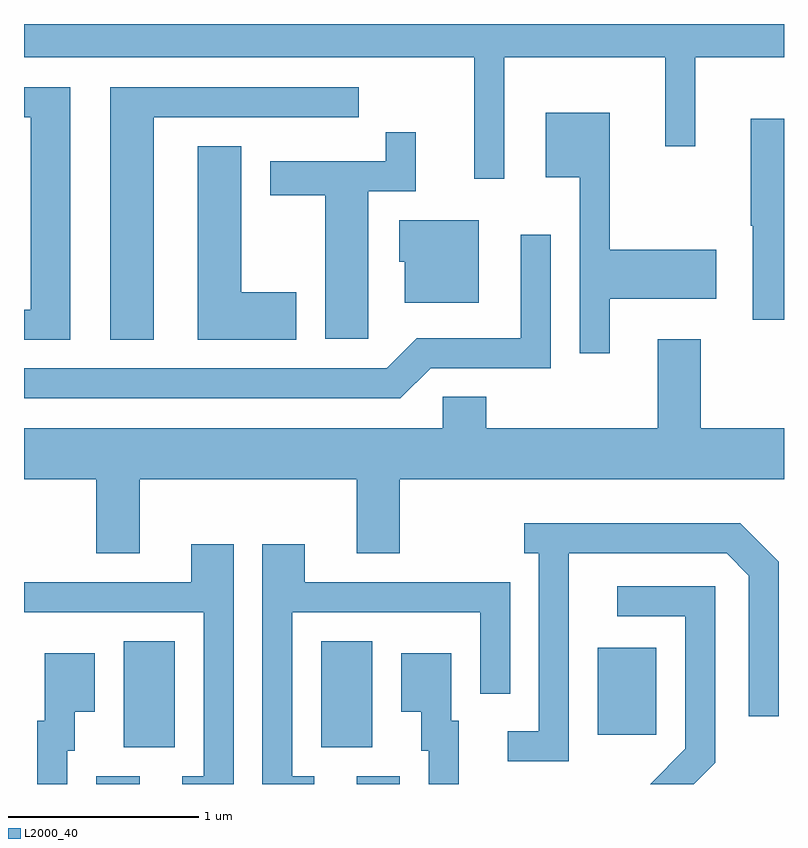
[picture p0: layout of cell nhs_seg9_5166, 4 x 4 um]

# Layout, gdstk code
import gdstk
lib = gdstk.Library(unit=1e-6, precision=1e-09)
def R(c, l, rs):  # rectangles x0, y0, x1, y1
    for r in rs: c.add(gdstk.rectangle(r[:2], r[2:], *l))
def P(c, l, *ps):  # polygons
    for p in ps: c.add(gdstk.Polygon(p, *l))
L2000_40 = (2000, 40)

nhs_seg9_5166 = lib.new_cell('nhs_seg9_5166')
R(nhs_seg9_5166, L2000_40, [(337.991,1992.432,338.219,1992.474), (339.361,1992.432,339.589,1992.474), (338.136,1992.626,338.404,1993.184), (339.176,1992.626,339.444,1993.184), (340.631,1992.691,340.939,1993.149)])
P(nhs_seg9_5166, L2000_40, [(340.139,1996.256),(340.986,1996.256),(340.986,1995.788),(341.144,1995.788),(341.144,1996.256),(341.611,1996.256),(341.611,1996.432),(337.611,1996.432),(337.611,1996.256),(339.981,1996.256),(339.981,1995.618),(340.139,1995.618)],
  [(337.854,1996.099),(337.611,1996.099),(337.611,1995.941),(337.646,1995.941),(337.646,1994.929),(337.611,1994.929),(337.611,1994.771),(337.854,1994.771)],
  [(338.294,1995.941),(339.373,1995.941),(339.373,1996.099),(338.066,1996.099),(338.066,1994.771),(338.294,1994.771)],
  [(340.694,1994.986),(341.254,1994.986),(341.254,1995.244),(340.694,1995.244),(340.694,1995.964),(340.356,1995.964),(340.356,1995.626),(340.536,1995.626),(340.536,1994.698),(340.694,1994.698)],
  [(341.611,1995.934),(341.436,1995.934),(341.436,1995.37),(341.446,1995.37),(341.446,1994.876),(341.611,1994.876)],
  [(339.424,1995.551),(339.674,1995.551),(339.674,1995.863),(339.516,1995.863),(339.516,1995.709),(338.906,1995.709),(338.906,1995.531),(339.196,1995.531),(339.196,1994.776),(339.424,1994.776)],
  [(339.044,1995.019),(338.754,1995.019),(338.754,1995.789),(338.526,1995.789),(338.526,1994.771),(339.044,1994.771)],
  [(340.004,1995.399),(339.586,1995.399),(339.586,1995.181),(339.616,1995.181),(339.616,1994.966),(340.004,1994.966)],
  [(339.752,1994.621),(340.384,1994.621),(340.384,1995.323),(340.226,1995.323),(340.226,1994.779),(339.679,1994.779),(339.519,1994.619),(337.611,1994.619),(337.611,1994.461),(339.592,1994.461)],
  [(338.219,1994.036),(339.361,1994.036),(339.361,1993.646),(339.589,1993.646),(339.589,1994.036),(341.611,1994.036),(341.611,1994.304),(341.174,1994.304),(341.174,1994.774),(340.946,1994.774),(340.946,1994.304),(340.044,1994.304),(340.044,1994.469),(339.816,1994.469),(339.816,1994.304),(337.611,1994.304),(337.611,1994.036),(337.991,1994.036),(337.991,1993.646),(338.219,1993.646)],
  [(340.479,1993.646),(341.309,1993.646),(341.426,1993.529),(341.426,1992.788),(341.584,1992.788),(341.584,1993.602),(341.382,1993.804),(340.243,1993.804),(340.243,1993.646),(340.321,1993.646),(340.321,1992.709),(340.158,1992.709),(340.158,1992.551),(340.479,1992.551)],
  [(338.714,1993.694),(338.491,1993.694),(338.491,1993.494),(337.611,1993.494),(337.611,1993.336),(338.556,1993.336),(338.556,1992.474),(338.443,1992.474),(338.443,1992.432),(338.714,1992.432)],
  [(339.138,1992.474),(339.024,1992.474),(339.024,1993.336),(340.011,1993.336),(340.011,1992.908),(340.169,1992.908),(340.169,1993.494),(339.089,1993.494),(339.089,1993.694),(338.866,1993.694),(338.866,1992.432),(339.138,1992.432)],
  [(341.249,1992.544),(341.249,1993.474),(340.733,1993.474),(340.733,1993.316),(341.091,1993.316),(341.091,1992.617),(340.907,1992.432),(341.137,1992.432)],
  [(337.839,1992.606),(337.879,1992.606),(337.879,1992.811),(337.984,1992.811),(337.984,1993.119),(337.721,1993.119),(337.721,1992.764),(337.681,1992.764),(337.681,1992.432),(337.839,1992.432)],
  [(339.899,1992.764),(339.859,1992.764),(339.859,1993.119),(339.596,1993.119),(339.596,1992.811),(339.701,1992.811),(339.701,1992.606),(339.741,1992.606),(339.741,1992.432),(339.899,1992.432)])

lib.write_gds('nhs_seg9_5166.gds')
